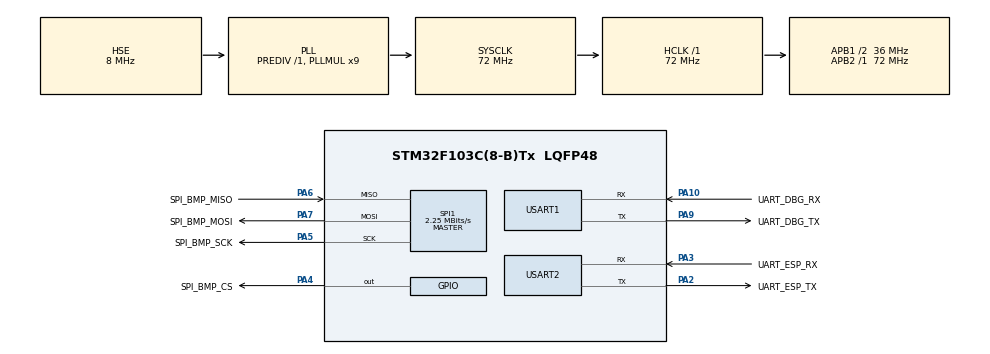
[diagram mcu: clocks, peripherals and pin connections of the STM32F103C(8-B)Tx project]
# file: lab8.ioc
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Mcu.Family=STM32F1
Mcu.Name=STM32F103C(8-B)Tx
Mcu.Package=LQFP48
NVIC.PriorityGroup=NVIC_PRIORITYGROUP_4
PA10.GPIO_Label=UART_DBG_RX
PA10.Mode=Asynchronous
PA10.Signal=USART1_RX
PA2.GPIO_Label=UART_ESP_TX
PA2.Mode=Asynchronous
PA2.Signal=USART2_TX
PA3.GPIO_Label=UART_ESP_RX
PA3.Mode=Asynchronous
PA3.Signal=USART2_RX
PA4.GPIO_Label=SPI_BMP_CS
PA4.Signal=GPIO_Output
PA5.GPIO_Label=SPI_BMP_SCK
PA5.Mode=Full_Duplex_Master
PA5.Signal=SPI1_SCK
PA6.GPIO_Label=SPI_BMP_MISO
PA6.Mode=Full_Duplex_Master
PA6.Signal=SPI1_MISO
PA7.GPIO_Label=SPI_BMP_MOSI
PA7.Mode=Full_Duplex_Master
PA7.Signal=SPI1_MOSI
PA9.GPIO_Label=UART_DBG_TX
PA9.Mode=Asynchronous
PA9.Signal=USART1_TX
PD0-OSC_IN.Mode=HSE-External-Oscillator
PD0-OSC_IN.Signal=RCC_OSC_IN
PD1-OSC_OUT.Mode=HSE-External-Oscillator
PD1-OSC_OUT.Signal=RCC_OSC_OUT
ProjectManager.HeapSize=0x200
ProjectManager.StackSize=0x400
ProjectManager.TargetToolchain=STM32CubeIDE
RCC.AHBFreq_Value=72000000
RCC.APB1CLKDivider=RCC_HCLK_DIV2
RCC.APB1Freq_Value=36000000
RCC.APB1TimFreq_Value=72000000
RCC.APB2Freq_Value=72000000
RCC.APB2TimFreq_Value=72000000
RCC.HCLKFreq_Value=72000000
RCC.PLLMUL=RCC_PLL_MUL9
RCC.PLLSourceVirtual=RCC_PLLSOURCE_HSE
RCC.SYSCLKFreq_VALUE=72000000
RCC.SYSCLKSource=RCC_SYSCLKSOURCE_PLLCLK
RCC.USBFreq_Value=72000000
SPI1.BaudRatePrescaler=SPI_BAUDRATEPRESCALER_32
SPI1.CalculateBaudRate=2.25 MBits/s
SPI1.Direction=SPI_DIRECTION_2LINES
SPI1.Mode=SPI_MODE_MASTER
SPI1.VirtualType=VM_MASTER
USART1.VirtualMode=VM_ASYNC
USART2.VirtualMode=VM_ASYNC
VP_SYS_VS_ND.Mode=No_Debug
board=custom

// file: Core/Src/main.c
/* USER CODE BEGIN Header */
/**
  ******************************************************************************
  * @file           : main.c
  * @brief          : Main program body - BMP280 SPI + JSON + UART Commands
  * @author         : Microprocesadores Lab
  * @version        : 1.0
  * @date           : 2026
  * @description    : Adquisición de datos mediante SPI (BMP280) y publicación
  *                  en formato JSON vía UART a módulo ESP
  ******************************************************************************
  * @attention
  *
  * Copyright (c) 2026 STMicroelectronics.
  * All rights reserved.
  *
  * This software is licensed under terms that can be found in the LICENSE file
  * in the root directory of this software component.
  * If no LICENSE file comes with this software, it is provided AS-IS.
  *
  ******************************************************************************
  */
/* USER CODE END Header */

#include "main.h"
#include "bmp280.h"
#include "json.h"
#include <stdio.h>
#include <string.h>
#include <stdlib.h>

SPI_HandleTypeDef hspi1;
UART_HandleTypeDef huart1;
UART_HandleTypeDef huart2;

void SystemClock_Config(void);
static void MX_GPIO_Init(void);
static void MX_SPI1_Init(void);
static void MX_USART1_UART_Init(void);
static void MX_USART2_UART_Init(void);

/* USER CODE BEGIN PFP */

// Función que lee el sensor y envía los datos
void ReadAndSendData(UART_HandleTypeDef *huart_debug, UART_HandleTypeDef *huart_esp);

/* USER CODE END PFP */

/* USER CODE BEGIN 0 */

/**
  * @brief  Lee el sensor BMP280 y envía los datos por ambos UARTs
  * @param  huart_debug: UART para debug (USART1 - PC)
  * @param  huart_esp: UART para ESP (USART2)
  * @retval None
  */
void ReadAndSendData(UART_HandleTypeDef *huart_debug, UART_HandleTypeDef *huart_esp) {
    float temperature, pressure;

    // Leer datos del BMP280 (temperatura y presión compensadas)
    BMP280_ReadData(&temperature, &pressure);

    // Enviar por USART1 (debug - PC) en formato legible
    char debug_msg[64];
    snprintf(debug_msg, sizeof(debug_msg), "READ -> T:%.2f C, P:%.0f Pa\r\n",
             temperature, pressure);
    UART_SendString(huart_debug, debug_msg);

    // Enviar JSON por USART2 (ESP) - Ejercicio 7
    JSON_SendData(huart_esp, temperature, pressure);
}

/* USER CODE END 0 */

int main(void)
{
  /* USER CODE BEGIN 1 */
  uint8_t bmp280_ok;
  uint8_t rx_byte;
  char command_buffer[32];
  uint8_t cmd_index = 0;
  /* USER CODE END 1 */

  /* MCU Configuration--------------------------------------------------------*/

  /* Reset of all peripherals, Initializes the Flash interface and the Systick. */
  HAL_Init();

  /* Configure the system clock */
  SystemClock_Config();

  /* Initialize all configured peripherals */
  MX_GPIO_Init();
  MX_SPI1_Init();
  MX_USART1_UART_Init();
  MX_USART2_UART_Init();

  /* USER CODE BEGIN 2 */

  // Inicializar sensor BMP280 - Ejercicios 1, 2 y 3
  bmp280_ok = BMP280_Init(&hspi1);

  // Enviar mensaje de inicio por UART1 (debug) - Ejercicio 1
  if(bmp280_ok) {
      UART_SendString(&huart1, "BMP280 Ready\r\n");
  } else {
      UART_SendString(&huart1, "BMP280 Error - Check sensor connection\r\n");
  }

  // Enviar mensaje de comandos disponibles
  UART_SendString(&huart1, "Commands available: READ, LOG ON, LOG OFF\r\n");

  /* USER CODE END 2 */

  /* Infinite loop */
  while (1)
  {

    /* USER CODE BEGIN 3 */

    // Leer comandos por UART1 (USART1 - debug con PC) - Ejercicio 6
    if(HAL_UART_Receive(&huart1, &rx_byte, 1, 10) == HAL_OK) {
        // Procesar caracter recibido
        if(rx_byte == '\n' || rx_byte == '\r') {
            // Fin de línea - procesar comando
            if(cmd_index > 0) {
                command_buffer[cmd_index] = '\0';
                ProcessUARTCommand(command_buffer, &huart1, &huart2, ReadAndSendData);
                cmd_index = 0;
            }
        }
        else if(cmd_index < sizeof(command_buffer) - 1) {
            // Almacenar caracter en buffer
            command_buffer[cmd_index++] = rx_byte;
        }
    }

    // Manejo de envío periódico (LOG ON) - Ejercicio 6
    HandlePeriodicSend(&huart1, &huart2, ReadAndSendData);

    // Pequeña pausa para no saturar el CPU
    HAL_Delay(10);
  }
  /* USER CODE END 3 */
}

void SystemClock_Config(void)
{
  RCC_OscInitTypeDef RCC_OscInitStruct = {0};
  RCC_ClkInitTypeDef RCC_ClkInitStruct = {0};

  /** Initializes the RCC Oscillators according to the specified parameters
  * in the RCC_OscInitTypeDef structure.
  */
  RCC_OscInitStruct.OscillatorType = RCC_OSCILLATORTYPE_HSE;
  RCC_OscInitStruct.HSEState = RCC_HSE_ON;
  RCC_OscInitStruct.HSEPredivValue = RCC_HSE_PREDIV_DIV1;
  RCC_OscInitStruct.HSIState = RCC_HSI_ON;
  RCC_OscInitStruct.PLL.PLLState = RCC_PLL_ON;
  RCC_OscInitStruct.PLL.PLLSource = RCC_PLLSOURCE_HSE;
  RCC_OscInitStruct.PLL.PLLMUL = RCC_PLL_MUL9;
  if (HAL_RCC_OscConfig(&RCC_OscInitStruct) != HAL_OK)
  {
    Error_Handler();
  }

  /** Initializes the CPU, AHB and APB buses clocks
  */
  RCC_ClkInitStruct.ClockType = RCC_CLOCKTYPE_HCLK|RCC_CLOCKTYPE_SYSCLK
                              |RCC_CLOCKTYPE_PCLK1|RCC_CLOCKTYPE_PCLK2;
  RCC_ClkInitStruct.SYSCLKSource = RCC_SYSCLKSOURCE_PLLCLK;
  RCC_ClkInitStruct.AHBCLKDivider = RCC_SYSCLK_DIV1;
  RCC_ClkInitStruct.APB1CLKDivider = RCC_HCLK_DIV2;
  RCC_ClkInitStruct.APB2CLKDivider = RCC_HCLK_DIV1;

  if (HAL_RCC_ClockConfig(&RCC_ClkInitStruct, FLASH_LATENCY_2) != HAL_OK)
  {
    Error_Handler();
  }
}

static void MX_SPI1_Init(void)
{

  /* SPI1 parameter configuration*/
  hspi1.Instance = SPI1;
  hspi1.Init.Mode = SPI_MODE_MASTER;
  hspi1.Init.Direction = SPI_DIRECTION_2LINES;
  hspi1.Init.DataSize = SPI_DATASIZE_8BIT;
  hspi1.Init.CLKPolarity = SPI_POLARITY_LOW;
  hspi1.Init.CLKPhase = SPI_PHASE_1EDGE;
  hspi1.Init.NSS = SPI_NSS_SOFT;
  hspi1.Init.BaudRatePrescaler = SPI_BAUDRATEPRESCALER_32;
  hspi1.Init.FirstBit = SPI_FIRSTBIT_MSB;
  hspi1.Init.TIMode = SPI_TIMODE_DISABLE;
  hspi1.Init.CRCCalculation = SPI_CRCCALCULATION_DISABLE;
  hspi1.Init.CRCPolynomial = 10;
  if (HAL_SPI_Init(&hspi1) != HAL_OK)
  {
    Error_Handler();
  }

}

static void MX_USART1_UART_Init(void)
{

  huart1.Instance = USART1;
  huart1.Init.BaudRate = 115200;
  huart1.Init.WordLength = UART_WORDLENGTH_8B;
  huart1.Init.StopBits = UART_STOPBITS_1;
  huart1.Init.Parity = UART_PARITY_NONE;
  huart1.Init.Mode = UART_MODE_TX_RX;
  huart1.Init.HwFlowCtl = UART_HWCONTROL_NONE;
  huart1.Init.OverSampling = UART_OVERSAMPLING_16;
  if (HAL_UART_Init(&huart1) != HAL_OK)
  {
    Error_Handler();
  }

}

static void MX_USART2_UART_Init(void)
{

  huart2.Instance = USART2;
  huart2.Init.BaudRate = 115200;
  huart2.Init.WordLength = UART_WORDLENGTH_8B;
  huart2.Init.StopBits = UART_STOPBITS_1;
  huart2.Init.Parity = UART_PARITY_NONE;
  huart2.Init.Mode = UART_MODE_TX_RX;
  huart2.Init.HwFlowCtl = UART_HWCONTROL_NONE;
  huart2.Init.OverSampling = UART_OVERSAMPLING_16;
  if (HAL_UART_Init(&huart2) != HAL_OK)
  {
    Error_Handler();
  }

}

static void MX_GPIO_Init(void)
{
  GPIO_InitTypeDef GPIO_InitStruct = {0};

  /* GPIO Ports Clock Enable */
  __HAL_RCC_GPIOD_CLK_ENABLE();
  __HAL_RCC_GPIOA_CLK_ENABLE();

  /*Configure GPIO pin Output Level */
  HAL_GPIO_WritePin(SPI_BMP_CS_GPIO_Port, SPI_BMP_CS_Pin, GPIO_PIN_RESET);

  /*Configure GPIO pin : SPI_BMP_CS_Pin */
  GPIO_InitStruct.Pin = SPI_BMP_CS_Pin;
  GPIO_InitStruct.Mode = GPIO_MODE_OUTPUT_PP;
  GPIO_InitStruct.Pull = GPIO_NOPULL;
  GPIO_InitStruct.Speed = GPIO_SPEED_FREQ_LOW;
  HAL_GPIO_Init(SPI_BMP_CS_GPIO_Port, &GPIO_InitStruct);

}

void Error_Handler(void)
{
  __disable_irq();
  while (1)
  {
  }
}
